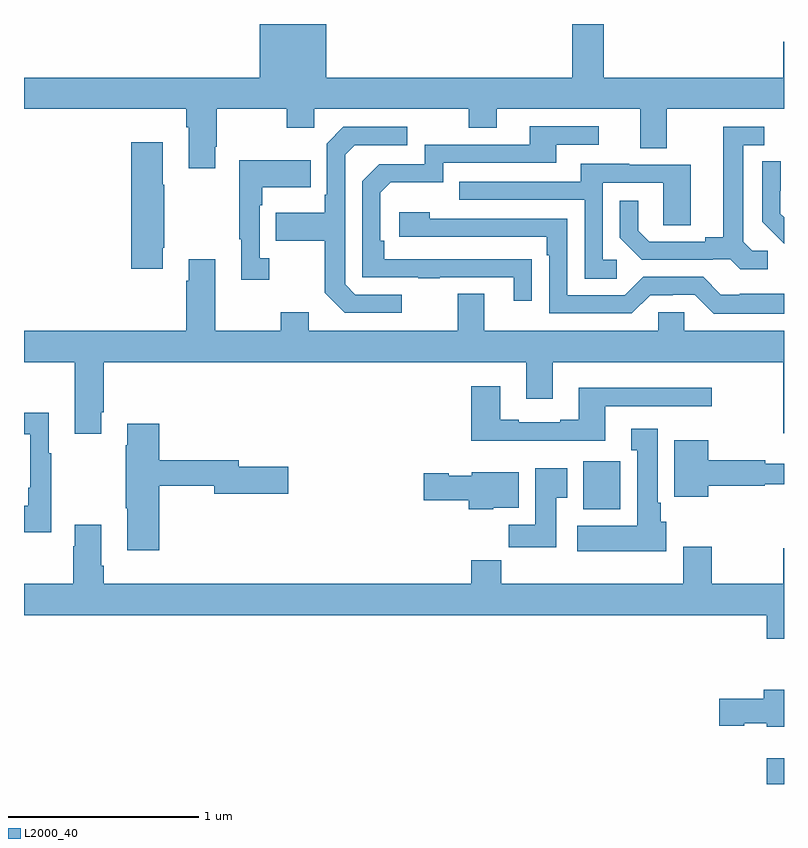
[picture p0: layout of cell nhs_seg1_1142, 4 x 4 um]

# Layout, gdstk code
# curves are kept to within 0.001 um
import gdstk
lib = gdstk.Library(unit=1e-6, precision=1e-09)
def R(c, l, rs):  # rectangles x0, y0, x1, y1
    for r in rs: c.add(gdstk.rectangle(r[:2], r[2:], *l))
def P(c, l, *ps):  # polygons
    for p in ps: c.add(gdstk.Polygon(p, *l))
L2000_40 = (2000, 40)

nhs_seg1_1142 = lib.new_cell('nhs_seg1_1142')
R(nhs_seg1_1142, L2000_40, [(176.909,528.199,177,528.334), (175.943,529.646,176.139,529.897)])
P(nhs_seg1_1142, L2000_40, [(174.007,531.553),(174.015,531.553),(174.015,531.752),(174.382,531.752),(174.382,531.653),(174.528,531.653),(174.528,531.752),(175.342,531.752),(175.342,531.653),(175.489,531.653),(175.489,531.752),(176.243,531.752),(176.243,531.544),(176.383,531.544),(176.383,531.752),(177,531.752),(177,532.105),(176.996,532.105),(176.996,531.916),(176.05,531.916),(176.05,532.199),(175.886,532.199),(175.886,531.916),(174.592,531.916),(174.592,532.199),(174.242,532.199),(174.242,531.916),(173,531.916),(173,531.752),(173.855,531.752),(173.855,531.656),(173.867,531.656),(173.867,531.441),(174.007,531.441)],
  [(175.673,530.96),(174.896,530.961),(174.896,531.058),(174.876,531.058),(174.876,531.312),(174.929,531.365),(175.206,531.365),(175.206,531.468),(175.801,531.468),(175.801,531.564),(176.026,531.564),(176.026,531.66),(175.661,531.66),(175.661,531.564),(175.11,531.564),(175.11,531.462),(174.87,531.462),(174.78,531.372),(174.78,530.865),(175.075,530.865),(175.075,530.86),(175.187,530.86),(175.187,530.865),(175.577,530.865),(175.577,530.742),(175.673,530.742)],
  [(174.988,530.775),(174.744,530.775),(174.69,530.829),(174.69,531.51),(174.741,531.561),(175.018,531.561),(175.018,531.657),(174.681,531.657),(174.594,531.57),(174.594,531.301),(174.582,531.301),(174.582,531.205),(174.325,531.205),(174.325,531.058),(174.582,531.058),(174.582,530.785),(174.687,530.679),(174.988,530.679)],
  [(176.914,531.006),(176.832,531.006),(176.785,531.053),(176.785,531.561),(176.896,531.561),(176.896,531.657),(176.681,531.657),(176.681,531.077),(176.585,531.077),(176.585,531.054),(176.29,531.054),(176.233,531.111),(176.233,531.268),(176.136,531.268),(176.136,531.074),(176.252,530.958),(176.624,530.958),(176.624,530.961),(176.718,530.961),(176.77,530.909),(176.914,530.909)],
  [(173.731,531.022),(173.739,531.022),(173.739,531.353),(173.731,531.353),(173.731,531.577),(173.564,531.577),(173.564,530.91),(173.731,530.91)],
  [(174.292,530.966),(174.24,530.966),(174.24,531.245),(174.253,531.245),(174.253,531.341),(174.509,531.341),(174.509,531.481),(174.132,531.481),(174.132,531.065),(174.143,531.065),(174.143,530.853),(174.292,530.853)],
  [(177,531.181),(176.981,531.2),(176.981,531.322),(176.982,531.322),(176.982,531.476),(176.886,531.476),(176.886,531.158),(176.959,531.085),(176.958,531.084),(177,531.042)],
  [(176.119,530.958),(176.046,530.958),(176.046,531.363),(176.364,531.363),(176.364,531.139),(176.509,531.139),(176.509,531.459),(176.185,531.459),(176.185,531.463),(175.931,531.463),(175.931,531.369),(175.291,531.369),(175.291,531.273),(175.95,531.273),(175.95,530.857),(176.119,530.857)],
  [(177,530.779),(176.767,530.779),(176.767,530.775),(176.667,530.775),(176.574,530.868),(176.259,530.868),(176.163,530.772),(175.86,530.772),(175.86,531.174),(175.136,531.174),(175.136,531.208),(174.975,531.208),(174.975,531.078),(175.751,531.078),(175.751,530.981),(175.764,530.981),(175.764,530.676),(176.199,530.676),(176.295,530.772),(176.414,530.772),(176.414,530.775),(176.529,530.775),(176.629,530.675),(177,530.675)],
  [(173.407,530.155),(173.42,530.155),(173.42,530.42),(175.643,530.42),(175.643,530.226),(175.783,530.226),(175.783,530.42),(176.996,530.42),(176.996,530.046),(177,530.046),(177,530.584),(176.475,530.584),(176.475,530.682),(176.337,530.682),(176.337,530.584),(175.423,530.584),(175.423,530.779),(175.283,530.779),(175.283,530.584),(174.499,530.584),(174.499,530.683),(174.352,530.683),(174.352,530.584),(174.007,530.584),(174.007,530.962),(173.867,530.962),(173.867,530.849),(173.855,530.849),(173.855,530.584),(173,530.584),(173,530.42),(173.267,530.42),(173.267,530.043),(173.407,530.043)],
  [(176.059,530.187),(176.62,530.187),(176.62,530.284),(175.919,530.284),(175.919,530.116),(175.823,530.116),(175.823,530.103),(175.603,530.103),(175.603,530.116),(175.507,530.116),(175.507,530.293),(175.355,530.293),(175.355,530.006),(176.059,530.006)],
  [(173.143,529.939),(173.131,529.939),(173.131,530.152),(173,530.152),(173,530.039),(173.034,530.039),(173.034,529.759),(173.022,529.759),(173.022,529.663),(173,529.663),(173,529.523),(173.143,529.523)],
  [(173.711,529.768),(174.002,529.768),(174.002,529.726),(174.391,529.726),(174.391,529.868),(174.13,529.868),(174.13,529.904),(173.711,529.904),(173.711,530.095),(173.543,530.095),(173.543,529.982),(173.536,529.982),(173.536,529.651),(173.543,529.651),(173.543,529.428),(173.711,529.428)],
  [(176.38,529.578),(176.35,529.578),(176.35,529.678),(176.335,529.678),(176.335,530.068),(176.195,530.068),(176.195,529.955),(176.228,529.955),(176.228,529.558),(175.911,529.558),(175.911,529.424),(176.38,529.424)],
  [(176.602,529.768),(176.898,529.768),(176.898,529.776),(177,529.776),(177,529.885),(176.9,529.885),(176.9,529.904),(176.602,529.904),(176.602,530.008),(176.423,530.008),(176.423,529.712),(176.602,529.712)],
  [(175.801,529.705),(175.858,529.705),(175.858,529.861),(175.691,529.861),(175.691,529.564),(175.552,529.564),(175.552,529.446),(175.801,529.446)],
  [(175.47,529.652),(175.603,529.652),(175.603,529.84),(175.356,529.84),(175.356,529.822),(175.236,529.822),(175.236,529.835),(175.104,529.835),(175.104,529.693),(175.34,529.693),(175.34,529.646),(175.47,529.646)],
  [(177,529.441),(176.996,529.441),(176.996,529.252),(176.619,529.252),(176.619,529.447),(176.471,529.447),(176.471,529.252),(175.511,529.252),(175.511,529.376),(175.355,529.376),(175.355,529.252),(173.42,529.252),(173.42,529.348),(173.407,529.348),(173.407,529.564),(173.267,529.564),(173.267,529.451),(173.26,529.451),(173.26,529.252),(173,529.252),(173,529.088),(176.909,529.088),(176.909,528.964),(177,528.964)],
  [(177,528.694),(176.894,528.694),(176.894,528.648),(176.658,528.648),(176.658,528.506),(176.79,528.506),(176.79,528.518),(176.91,528.518),(176.91,528.5),(177,528.5)])

lib.write_gds('nhs_seg1_1142.gds')
